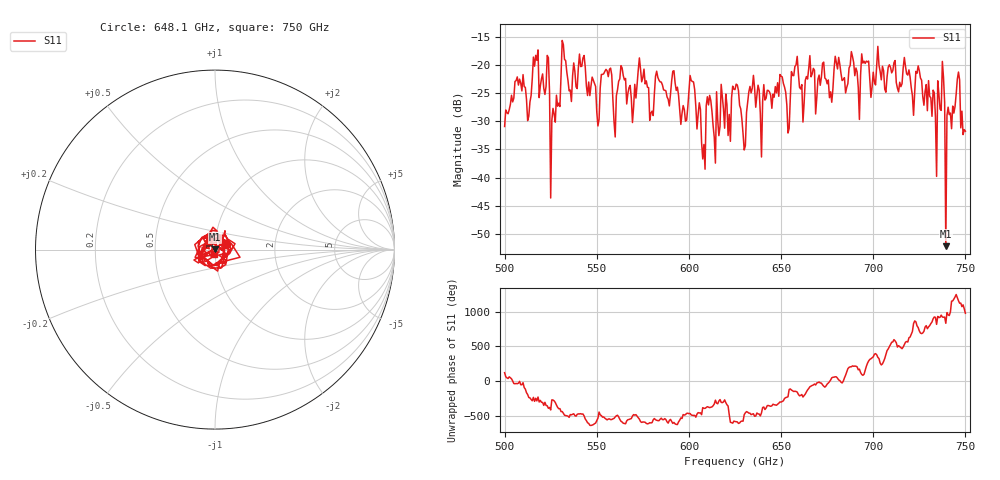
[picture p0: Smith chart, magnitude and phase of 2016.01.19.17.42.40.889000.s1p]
!Created with skrf (http://scikit-rf.org).
# GHz S RI R 50.0
!freq ReS11 ImS11
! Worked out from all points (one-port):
!   401 points, 500 GHz to 750 GHz, reference 50 ohm
!   lowest |S11| = -52.2 dB at 739.4 GHz (marker M1), VSWR 1.00, Z = 49.9 + j0.223 ohm
!   |S11| at or under -10 dB: start of sweep to end of sweep
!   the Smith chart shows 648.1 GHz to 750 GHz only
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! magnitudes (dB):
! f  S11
! 500 GHz  -30.9
! 506.9 GHz  -22.2
! 513.1 GHz  -29.1
! 516.9 GHz  -18.3
! 523.1 GHz  -18.3
! 526.2 GHz  -27.7
! 531.2 GHz  -15.7
! 541.9 GHz  -20.3
! 550.6 GHz  -30.9
! 562.5 GHz  -22.5
! 593.8 GHz  -24.0
! 601.9 GHz  -23.0
! 607.5 GHz  -36.7
! 610.6 GHz  -27.1
! 615 GHz  -24.8
! 625 GHz  -24.4
! 630 GHz  -35.1
! 633.8 GHz  -25.0
! 650.6 GHz  -22.2
! 653.8 GHz  -32.1
! 656.2 GHz  -21.9
! 687.5 GHz  -20.1
! 718.8 GHz  -21.8
! 733.1 GHz  -25.0
! 737.5 GHz  -19.4
! 739.4 GHz  -52.2
! 745.6 GHz  -22.5
! 750 GHz  -31.8
